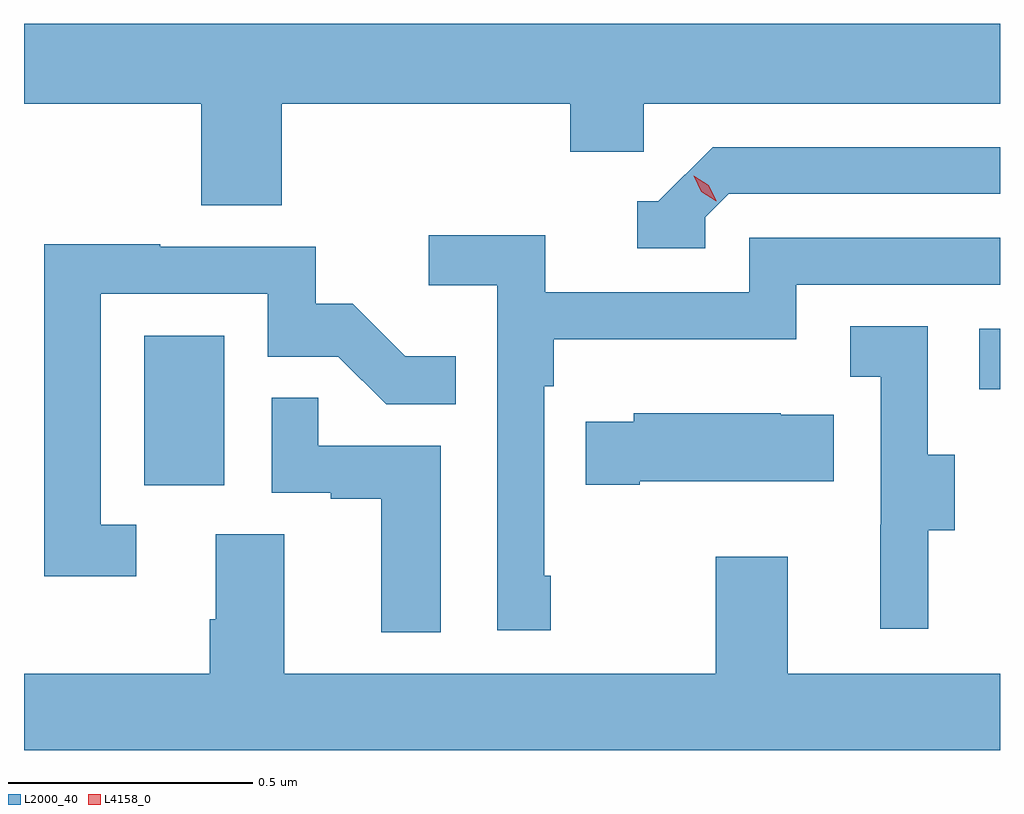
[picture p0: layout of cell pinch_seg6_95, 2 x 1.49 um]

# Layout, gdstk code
import gdstk
lib = gdstk.Library(unit=1e-6, precision=1e-09)
def R(c, l, rs):  # rectangles x0, y0, x1, y1
    for r in rs: c.add(gdstk.rectangle(r[:2], r[2:], *l))
def P(c, l, *ps):  # polygons
    for p in ps: c.add(gdstk.Polygon(p, *l))
L2000_40 = (2000, 40)
L4158_0 = (4158, 0)

pinch_seg6_95 = lib.new_cell('pinch_seg6_95')
R(pinch_seg6_95, L2000_40, [(921.674,918.582,921.838,918.889), (923.385,918.779,923.428,918.903)])
P(pinch_seg6_95, L2000_40, [(921.956,919.364),(922.547,919.364),(922.547,919.266),(922.698,919.266),(922.698,919.364),(923.428,919.364),(923.428,919.528),(921.428,919.528),(921.428,919.364),(921.791,919.364),(921.791,919.156),(921.956,919.156)],
  [(922.824,919.131),(922.872,919.179),(923.428,919.179),(923.428,919.275),(922.839,919.275),(922.728,919.164),(922.685,919.164),(922.685,919.068),(922.824,919.068)],
  [(922.507,918.397),(922.494,918.397),(922.494,918.785),(922.514,918.785),(922.514,918.881),(923.01,918.881),(923.01,918.993),(923.428,918.993),(923.428,919.089),(922.914,919.089),(922.914,918.978),(922.496,918.978),(922.496,919.094),(922.257,919.094),(922.257,918.992),(922.398,918.992),(922.398,918.285),(922.507,918.285)],
  [(921.658,918.501),(921.585,918.501),(921.585,918.975),(921.927,918.975),(921.927,918.846),(922.072,918.846),(922.17,918.748),(922.313,918.748),(922.313,918.847),(922.209,918.847),(922.102,918.954),(922.026,918.954),(922.026,919.071),(921.707,919.071),(921.707,919.076),(921.469,919.076),(921.469,918.396),(921.658,918.396)],
  [(923.281,918.49),(923.335,918.49),(923.335,918.645),(923.28,918.645),(923.28,918.908),(923.121,918.908),(923.121,918.805),(923.184,918.805),(923.184,918.501),(923.183,918.501),(923.183,918.288),(923.281,918.288)],
  [(922.282,918.663),(922.031,918.663),(922.031,918.761),(921.936,918.761),(921.936,918.567),(922.057,918.567),(922.057,918.555),(922.16,918.555),(922.16,918.281),(922.282,918.281)],
  [(922.69,918.59),(923.087,918.59),(923.087,918.727),(922.979,918.727),(922.979,918.73),(922.677,918.73),(922.677,918.712),(922.579,918.712),(922.579,918.583),(922.69,918.583)],
  [(923.428,918.196),(922.993,918.196),(922.993,918.436),(922.846,918.436),(922.846,918.196),(921.961,918.196),(921.961,918.482),(921.821,918.482),(921.821,918.308),(921.809,918.308),(921.809,918.196),(921.428,918.196),(921.428,918.039),(923.428,918.039)])
P(pinch_seg6_95, L4158_0, [(922.847,919.164),(922.816,919.184),(922.8,919.216),(922.8,919.216),(922.8,919.216),(922.831,919.197),(922.847,919.165),(922.847,919.164)])

lib.write_gds('pinch_seg6_95.gds')
